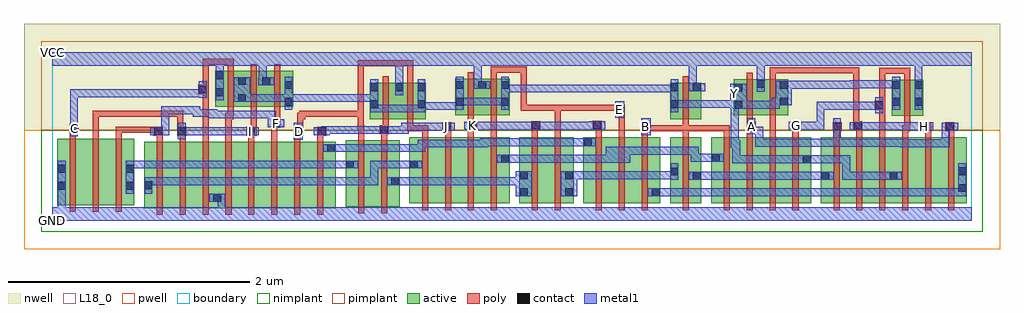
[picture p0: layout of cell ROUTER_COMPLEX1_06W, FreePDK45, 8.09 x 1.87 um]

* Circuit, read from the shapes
.subckt ROUTER_COMPLEX1_06W A B C D E F G GND H I J K VCC Y
M1 n1 C GND VSUBS nfet w=0.55u l=0.05u
M2 n2 I n1 VSUBS nfet w=0.55u l=0.05u
M3 n3 F n2 VSUBS nfet w=0.55u l=0.05u
M4 n4 F n5 VSUBS nfet w=0.55u l=0.05u
M5 n6 I n4 VSUBS nfet w=0.55u l=0.05u
M6 GND C n6 VSUBS nfet w=0.55u l=0.05u
M7 n7 C GND VSUBS nfet w=0.55u l=0.05u
M8 n8 I n7 VSUBS nfet w=0.55u l=0.05u
M9 n9 F n8 VSUBS nfet w=0.55u l=0.05u
M10 n10 D n9 VSUBS nfet w=0.55u l=0.05u
M11 n11 J n10 VSUBS nfet w=0.55u l=0.05u
M12 n12 D n3 VSUBS nfet w=0.55u l=0.05u
M13 n13 J n12 VSUBS nfet w=0.55u l=0.05u
M14 n14 D n5 VSUBS nfet w=0.55u l=0.05u
M15 n15 J n14 VSUBS nfet w=0.55u l=0.05u
M16 n16 K n15 VSUBS nfet w=0.55u l=0.05u
M17 n17 E n16 VSUBS nfet w=0.55u l=0.05u
M18 n18 K n13 VSUBS nfet w=0.55u l=0.05u
M19 n19 E n18 VSUBS nfet w=0.55u l=0.05u
M20 n20 K n11 VSUBS nfet w=0.55u l=0.05u
M21 n21 E n20 VSUBS nfet w=0.55u l=0.05u
M22 n22 B n21 VSUBS nfet w=0.55u l=0.05u
M23 n23 B n19 VSUBS nfet w=0.55u l=0.05u
M24 n24 B n17 VSUBS nfet w=0.55u l=0.05u
M25 n25 A n24 VSUBS nfet w=0.55u l=0.05u
M26 n26 H n25 VSUBS nfet w=0.55u l=0.05u
M27 Y G n26 VSUBS nfet w=0.55u l=0.05u
M28 n27 A n23 VSUBS nfet w=0.55u l=0.05u
M29 n28 H n27 VSUBS nfet w=0.55u l=0.05u
M30 Y G n28 VSUBS nfet w=0.55u l=0.05u
M31 n29 G Y VSUBS nfet w=0.55u l=0.05u
M32 n30 H n29 VSUBS nfet w=0.55u l=0.05u
M33 n22 A n30 VSUBS nfet w=0.55u l=0.05u
M34 Y C VCC n31 pfet w=0.3u l=0.05u
M35 VCC I Y n31 pfet w=0.3u l=0.05u
M36 Y F VCC n31 pfet w=0.3u l=0.05u
M37 VCC J Y n31 pfet w=0.3u l=0.05u
M38 Y D VCC n31 pfet w=0.3u l=0.05u
M39 VCC K Y n31 pfet w=0.3u l=0.05u
M40 Y E VCC n31 pfet w=0.3u l=0.05u
M41 VCC B Y n31 pfet w=0.3u l=0.05u
M42 VCC A Y n31 pfet w=0.3u l=0.05u
M43 Y H VCC n31 pfet w=0.3u l=0.05u
M44 VCC G Y n31 pfet w=0.3u l=0.05u
.ends

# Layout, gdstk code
import gdstk
lib = gdstk.Library(unit=1e-6, precision=1e-09)
def R(c, l, rs):  # rectangles x0, y0, x1, y1
    for r in rs: c.add(gdstk.rectangle(r[:2], r[2:], *l))
def A(c, l, x, y, w, h, nx, ny, dx, dy):  # array of equal rectangles
    R(c, l, [(x+i*dx, y+j*dy, x+i*dx+w, y+j*dy+h) for i in range(nx) for j in range(ny)])
active = (1, 0)
pwell = (2, 0)
nwell = (3, 0)
nimplant = (4, 0)
pimplant = (5, 0)
poly = (9, 0)
contact = (10, 0)
metal1 = (11, 0)
L18_0 = (18, 0)
boundary = (235, 0)

router_complex1_06w = lib.new_cell('ROUTER_COMPLEX1_06W')
A(router_complex1_06w, active, 1.555, 0.107, 0.19, 0.55, 3, 1, 0.19, 0)
R(router_complex1_06w, active, [(0.76,0.107,0.985,0.657), (0.985,0.107,1.175,0.657), (1.175,0.107,1.405,0.657), (1.33,0.107,1.555,0.657), (1.33,0.107,1.405,0.55), (2.125,0.107,2.35,0.657), (2.43,0.117,2.655,0.667), (2.655,0.117,2.88,0.667), (0.04,0.132,0.115,0.682), (0.04,0.132,0.265,0.682), (0.265,0.132,0.455,0.682), (0.455,0.132,0.68,0.682), (0.605,0.145,0.68,0.682), (0.76,0.145,0.865,0.657), (2.275,0.145,2.35,0.657), (2.43,0.145,2.535,0.667), (2.805,0.145,2.88,0.642), (2.96,0.145,3.185,0.695), (2.96,0.145,3.065,0.695), (3.185,0.145,3.375,0.695), (3.375,0.145,3.565,0.695), (3.565,0.145,3.79,0.695), (3.715,0.145,3.79,0.695), (3.87,0.145,4.095,0.695), (3.87,0.145,3.975,0.642), (4.095,0.145,4.32,0.695), (4.245,0.145,4.32,0.435), (4.4,0.145,4.625,0.695), (4.4,0.145,4.505,0.695), (4.625,0.145,4.815,0.695), (4.815,0.145,5.04,0.695), (4.965,0.145,5.04,0.642), (5.12,0.145,5.195,0.695), (5.12,0.145,5.38,0.695), (5.305,0.145,5.38,0.695), (5.46,0.145,5.685,0.695), (5.46,0.145,5.565,0.695), (5.685,0.145,5.875,0.695), (5.875,0.145,6.065,0.695), (6.065,0.145,6.29,0.695), (6.215,0.145,6.29,0.695), (6.37,0.145,6.595,0.695), (6.37,0.145,6.475,0.642), (6.595,0.145,6.785,0.695), (6.785,0.145,7.01,0.695), (6.935,0.145,7.165,0.695), (6.935,0.145,7.01,0.642), (7.165,0.145,7.355,0.695), (7.355,0.145,7.58,0.695), (7.505,0.145,7.58,0.695), (2.632,0.845,2.707,1.145), (2.632,0.845,2.912,1.145), (2.837,0.845,3.097,1.145), (3.022,0.845,3.097,1.145), (5.12,0.845,5.38,1.145), (5.12,0.845,5.195,1.145), (5.305,0.845,5.38,1.145), (6.957,0.87,7.032,1.165), (6.957,0.87,7.217,1.17), (7.142,0.87,7.217,1.165), (5.65,0.875,5.91,1.175), (5.65,0.875,5.725,1.142), (5.835,0.875,6.1,1.175), (6.025,0.875,6.1,1.167), (3.34,0.877,3.6,1.177), (3.34,0.877,3.415,1.165), (3.525,0.877,3.79,1.177), (3.715,0.877,3.79,1.165), (1.35,0.945,1.61,1.245), (1.35,0.945,1.425,1.245), (1.535,0.945,1.81,1.245), (1.735,0.945,1.995,1.245), (1.92,0.945,1.995,1.165), (1.535,0.952,1.61,1.197), (2.837,0.952,2.912,1.145), (3.525,0.952,3.6,1.165), (5.835,0.952,5.91,1.175), (1.735,1.007,1.81,1.195)])
R(router_complex1_06w, pwell, [(-0.235,-0.235,7.855,0.75)])
R(router_complex1_06w, nwell, [(-0.235,0.75,7.855,1.635)])
R(router_complex1_06w, nimplant, [(-0.09,-0.09,7.71,0.75)])
R(router_complex1_06w, pimplant, [(-0.09,0.75,7.71,1.49)])
A(router_complex1_06w, poly, 0.865, 0.052, 0.05, 0.66, 8, 1, 0.19, 0)
A(router_complex1_06w, poly, 0.145, 0.077, 0.05, 0.66, 3, 1, 0.19, 0)
A(router_complex1_06w, poly, 3.065, 0.09, 0.05, 0.66, 4, 1, 0.19, 0)
A(router_complex1_06w, poly, 4.505, 0.09, 0.05, 0.66, 3, 1, 0.19, 0)
A(router_complex1_06w, poly, 5.565, 0.09, 0.05, 0.66, 4, 1, 0.19, 0)
A(router_complex1_06w, poly, 6.475, 0.09, 0.05, 0.66, 6, 1, 0.19, 0)
A(router_complex1_06w, poly, 4.885, 0.7, 0.05, 0.095, 3, 1, 0.34, 0)
A(router_complex1_06w, poly, 7.045, 0.7, 0.05, 0.095, 3, 1, 0.19, 0)
R(router_complex1_06w, poly, [(2.535,0.062,2.585,0.722), (2.725,0.062,2.775,0.722), (3.975,0.09,4.025,0.75), (4.165,0.09,4.215,0.75), (5.225,0.09,5.275,0.75), (0.865,0.662,0.915,0.757), (1.055,0.662,1.105,0.757), (1.245,0.662,1.295,0.895), (1.435,0.662,1.485,0.895), (1.625,0.662,1.675,0.757), (1.815,0.662,1.865,0.822), (2.005,0.662,2.055,0.757), (2.195,0.662,2.245,0.757), (2.535,0.672,2.585,0.795), (2.725,0.672,2.775,0.767), (0.145,0.687,0.195,0.782), (0.335,0.687,0.385,0.915), (0.525,0.687,0.575,0.782), (3.065,0.7,3.115,0.795), (3.255,0.7,3.305,0.795), (3.445,0.7,3.495,0.802), (3.635,0.7,3.685,0.827), (3.975,0.7,4.025,0.802), (4.165,0.7,4.215,0.962), (4.505,0.7,4.555,0.805), (4.695,0.7,4.745,0.937), (5.755,0.7,5.805,0.797), (5.945,0.7,5.995,0.795), (6.135,0.7,6.185,0.8), (6.475,0.7,6.525,0.795), (6.665,0.7,6.715,0.8), (6.855,0.7,6.905,0.972), (0.84,0.707,0.915,0.782), (1.035,0.707,1.11,0.782), (1.607,0.707,1.695,0.782), (2.005,0.707,2.08,0.782), (2.195,0.707,2.27,0.782), (2.712,0.717,2.787,0.792), (0.142,0.732,0.217,0.807), (0.525,0.732,0.575,0.782), (0.525,0.732,0.575,0.782), (0.525,0.732,0.575,0.782), (0.525,0.732,0.89,0.782), (0.84,0.732,0.89,0.782), (0.84,0.732,0.89,0.782), (1.035,0.732,1.085,0.782), (1.035,0.732,1.085,0.782), (1.035,0.732,1.085,0.915), (1.645,0.732,1.695,0.94), (2.03,0.732,2.08,0.895), (2.737,0.742,2.787,0.84), (2.532,0.745,2.582,0.795), (2.532,0.745,2.582,0.795), (2.532,0.745,2.582,0.915), (2.532,0.745,2.585,0.795), (2.942,0.745,2.992,0.84), (2.942,0.745,3.115,0.795), (3.23,0.745,3.305,0.82), (4.885,0.745,4.96,0.82), (4.91,0.745,4.96,0.795), (4.91,0.745,4.96,0.795), (4.91,0.745,5.092,0.795), (5.042,0.745,5.092,0.795), (5.042,0.745,5.275,0.795), (5.225,0.745,5.275,0.84), (5.225,0.745,5.275,0.795), (5.225,0.745,5.275,0.795), (5.225,0.745,5.275,0.795), (5.225,0.745,5.615,0.795), (5.565,0.745,5.615,0.795), (5.565,0.745,5.615,0.795), (5.565,0.745,5.615,0.795), (5.945,0.745,5.995,0.795), (5.945,0.745,5.995,0.87), (6.467,0.745,6.542,0.82), (7.045,0.745,7.112,0.795), (7.062,0.745,7.112,0.865), (7.195,0.745,7.285,0.82), (7.402,0.745,7.477,0.82), (5.755,0.747,5.832,0.822), (6.132,0.75,6.207,0.825), (6.64,0.75,6.715,0.825), (3.445,0.752,3.52,0.827), (3.97,0.752,4.045,0.827), (4.48,0.755,4.555,0.83), (1.815,0.772,1.89,0.847), (5.755,0.772,5.805,0.87), (6.64,0.775,6.69,0.825), (6.64,0.775,6.69,0.825), (6.64,0.775,6.69,1.275), (3.445,0.777,3.495,0.872), (3.635,0.777,3.685,0.872), (3.635,0.777,3.685,0.827), (2.737,0.79,2.787,1.2), (2.942,0.79,2.992,1.2), (5.225,0.79,5.275,1.2), (1.84,0.797,1.89,0.94), (7.062,0.815,7.112,1.225), (5.755,0.82,5.805,1.23), (5.945,0.82,5.995,1.23), (3.445,0.822,3.495,1.232), (3.635,0.822,3.685,1.277), (1.245,0.845,1.295,0.895), (1.245,0.845,1.295,1.102), (1.435,0.845,1.505,0.895), (1.455,0.845,1.505,0.94), (2.03,0.845,2.095,0.895), (2.045,0.845,2.095,0.895), (2.045,0.845,2.095,0.915), (0.335,0.865,0.385,0.915), (0.335,0.865,0.385,0.915), (0.335,0.865,0.385,0.915), (0.335,0.865,0.385,0.915), (0.335,0.865,0.385,0.915), (0.335,0.865,0.385,0.915), (0.335,0.865,0.385,0.915), (0.335,0.865,0.757,0.915), (0.707,0.865,0.757,0.915), (0.707,0.865,0.757,0.915), (0.707,0.865,0.757,0.915), (0.707,0.865,0.952,0.915), (0.902,0.865,0.952,0.915), (0.902,0.865,0.952,0.915), (0.902,0.865,0.952,0.915), (0.902,0.865,1.085,0.915), (1.035,0.865,1.085,0.915), (1.035,0.865,1.085,0.915), (1.035,0.865,1.085,0.915), (2.045,0.865,2.095,0.915), (2.045,0.865,2.095,0.915), (2.045,0.865,2.227,0.915), (2.177,0.865,2.227,0.915), (2.177,0.865,2.227,0.915), (2.177,0.865,2.227,0.915), (2.177,0.865,2.582,0.915), (2.532,0.865,2.582,0.915), (2.532,0.865,2.582,0.915), (2.532,0.865,2.582,0.915), (2.532,0.865,2.582,1.332), (4.67,0.887,4.745,0.962), (1.455,0.89,1.505,1.3), (1.645,0.89,1.695,1.3), (1.84,0.89,1.89,1.3), (3.882,0.912,3.932,0.962), (3.882,0.912,3.932,0.962), (3.882,0.912,3.932,0.962), (3.882,0.912,4.215,0.962), (3.882,0.912,3.932,1.277), (4.165,0.912,4.215,0.962), (4.165,0.912,4.215,0.962), (4.165,0.912,4.215,0.962), (4.165,0.912,4.215,0.962), (4.165,0.912,4.215,0.962), (4.165,0.912,4.215,0.962), (4.165,0.912,4.215,0.962), (4.165,0.912,4.347,0.962), (4.297,0.912,4.347,0.962), (4.297,0.912,4.347,0.962), (4.297,0.912,4.347,0.962), (4.297,0.912,4.48,0.962), (4.43,0.912,4.48,0.962), (4.43,0.912,4.72,0.962), (4.67,0.912,4.72,0.962), (4.67,0.912,4.72,0.962), (4.67,0.912,4.72,0.962), (4.67,0.912,4.72,0.962), (4.67,0.912,4.72,0.962), (4.67,0.912,4.72,0.962), (6.817,0.922,6.905,0.997), (6.855,0.922,6.905,0.972), (6.855,0.922,6.905,0.972), (6.855,0.922,6.905,0.972), (6.855,0.922,6.905,0.972), (6.855,0.947,6.905,1.27), (1.21,1.052,1.295,1.127), (1.245,1.052,1.295,1.102), (1.245,1.052,1.295,1.102), (1.245,1.077,1.295,1.127), (1.245,1.077,1.295,1.127), (1.245,1.077,1.295,1.345), (2.942,1.15,2.992,1.332), (7.062,1.175,7.112,1.27), (5.945,1.18,5.995,1.275), (6.855,1.22,7.112,1.27), (6.855,1.22,6.905,1.27), (6.855,1.22,6.905,1.27), (6.855,1.22,6.905,1.27), (6.855,1.22,6.905,1.27), (6.855,1.22,6.905,1.27), (7.062,1.22,7.112,1.27), (5.945,1.225,5.995,1.275), (5.945,1.225,5.995,1.275), (5.945,1.225,5.995,1.275), (5.945,1.225,6.2,1.275), (6.15,1.225,6.2,1.275), (6.15,1.225,6.2,1.275), (6.15,1.225,6.2,1.275), (6.15,1.225,6.2,1.275), (6.15,1.225,6.2,1.275), (6.15,1.225,6.2,1.275), (6.15,1.225,6.2,1.275), (6.15,1.225,6.557,1.275), (6.507,1.225,6.557,1.275), (6.507,1.225,6.557,1.275), (6.507,1.225,6.557,1.275), (6.507,1.225,6.69,1.275), (6.64,1.225,6.69,1.275), (6.64,1.225,6.69,1.275), (6.64,1.225,6.69,1.275), (3.635,1.227,3.685,1.277), (3.635,1.227,3.685,1.277), (3.635,1.227,3.685,1.277), (3.635,1.227,3.685,1.277), (3.635,1.227,3.685,1.277), (3.635,1.227,3.685,1.277), (3.635,1.227,3.685,1.277), (3.635,1.227,3.932,1.277), (3.882,1.227,3.932,1.277), (1.455,1.25,1.505,1.345), (2.532,1.282,2.582,1.332), (2.532,1.282,2.582,1.332), (2.532,1.282,2.582,1.332), (2.532,1.282,2.715,1.332), (2.665,1.282,2.715,1.332), (2.665,1.282,2.715,1.332), (2.665,1.282,2.715,1.332), (2.665,1.282,2.847,1.332), (2.797,1.282,2.847,1.332), (2.797,1.282,2.992,1.332), (2.942,1.282,2.992,1.332), (2.942,1.282,2.992,1.332), (2.942,1.282,2.992,1.332), (1.245,1.295,1.295,1.345), (1.245,1.295,1.295,1.345), (1.245,1.295,1.295,1.345), (1.245,1.295,1.505,1.345), (1.455,1.295,1.505,1.345)])
R(router_complex1_06w, contact, [(1.335,0.16,1.4,0.225), (3.875,0.205,3.94,0.27), (4.25,0.205,4.315,0.27), (4.97,0.205,5.035,0.27), (7.51,0.24,7.575,0.305), (0.045,0.26,0.11,0.325), (0.61,0.26,0.675,0.325), (0.765,0.262,0.83,0.327), (2.81,0.297,2.875,0.362), (5.31,0.342,5.375,0.407), (6.375,0.342,6.44,0.407), (6.94,0.342,7.005,0.407), (3.875,0.345,3.94,0.41), (4.25,0.345,4.315,0.41), (5.125,0.377,5.19,0.442), (7.51,0.38,7.575,0.445), (0.045,0.4,0.11,0.465), (0.61,0.4,0.675,0.465), (2.435,0.435,2.5,0.5), (2.965,0.435,3.03,0.5), (6.22,0.48,6.285,0.545), (3.72,0.482,3.785,0.547), (5.465,0.492,5.53,0.557), (2.28,0.572,2.345,0.637), (4.405,0.62,4.47,0.685), (0.845,0.712,0.91,0.777), (1.04,0.712,1.105,0.777), (1.612,0.712,1.677,0.777), (2.01,0.712,2.075,0.777), (2.2,0.712,2.265,0.777), (2.717,0.722,2.782,0.787), (0.147,0.737,0.212,0.802), (3.235,0.75,3.3,0.815), (4.89,0.75,4.955,0.815), (6.472,0.75,6.537,0.815), (7.2,0.75,7.265,0.815), (7.407,0.75,7.472,0.815), (5.762,0.752,5.827,0.817), (6.137,0.755,6.202,0.82), (6.645,0.755,6.71,0.82), (3.45,0.757,3.515,0.822), (3.975,0.757,4.04,0.822), (4.485,0.76,4.55,0.825), (1.82,0.777,1.885,0.842), (4.675,0.892,4.74,0.957), (6.822,0.927,6.887,0.992), (5.655,0.932,5.72,0.997), (2.637,0.935,2.702,1), (3.027,0.935,3.092,1), (5.125,0.935,5.19,1), (1.925,0.955,1.99,1.02), (3.345,0.955,3.41,1.02), (3.72,0.955,3.785,1.02), (6.962,0.955,7.027,1.02), (7.147,0.955,7.212,1.02), (6.03,0.957,6.095,1.022), (1.54,0.987,1.605,1.052), (1.355,1.035,1.42,1.1), (1.215,1.057,1.28,1.122), (5.655,1.072,5.72,1.137), (2.637,1.075,2.702,1.14), (2.842,1.075,2.907,1.14), (3.027,1.075,3.092,1.14), (5.125,1.075,5.19,1.14), (5.31,1.075,5.375,1.14), (1.925,1.095,1.99,1.16), (3.345,1.095,3.41,1.16), (3.53,1.095,3.595,1.16), (3.72,1.095,3.785,1.16), (6.962,1.095,7.027,1.16), (7.147,1.095,7.212,1.16), (6.03,1.097,6.095,1.162), (5.84,1.105,5.905,1.17), (1.74,1.125,1.805,1.19), (1.54,1.127,1.605,1.192), (1.355,1.175,1.42,1.24)])
R(router_complex1_06w, metal1, [(0,0,7.62,0.115), (0.045,0.05,0.11,0.29), (1.37,0.05,1.435,0.225), (1.3,0.16,1.435,0.225), (3.84,0.205,3.975,0.41), (4.215,0.205,4.35,0.41), (4.935,0.205,5.07,0.27), (5.005,0.205,5.07,0.27), (5.005,0.205,5.07,0.27), (5.005,0.205,5.327,0.27), (5.262,0.205,5.327,0.27), (5.262,0.205,5.547,0.27), (5.482,0.205,5.547,0.27), (5.482,0.205,5.547,0.27), (5.482,0.205,5.547,0.27), (5.482,0.205,5.685,0.27), (5.62,0.205,5.685,0.27), (5.62,0.205,5.685,0.27), (5.62,0.205,5.685,0.27), (5.62,0.205,5.892,0.27), (5.827,0.205,5.892,0.27), (5.827,0.205,5.892,0.27), (5.827,0.205,5.892,0.27), (5.827,0.205,6.03,0.27), (5.965,0.205,6.03,0.27), (5.965,0.205,6.03,0.27), (5.965,0.205,6.03,0.27), (5.965,0.205,6.262,0.27), (6.197,0.205,6.262,0.27), (6.197,0.205,6.4,0.27), (6.335,0.205,6.4,0.27), (6.335,0.205,6.4,0.27), (6.335,0.205,6.4,0.27), (6.335,0.205,6.537,0.27), (6.472,0.205,6.537,0.27), (6.472,0.205,6.537,0.27), (6.472,0.205,6.537,0.27), (6.472,0.205,6.75,0.27), (6.685,0.205,6.75,0.27), (6.685,0.205,6.75,0.27), (6.685,0.205,6.75,0.27), (6.685,0.205,6.887,0.27), (6.822,0.205,6.887,0.27), (6.822,0.205,6.887,0.27), (6.822,0.205,6.887,0.27), (6.822,0.205,7.09,0.27), (7.025,0.205,7.09,0.27), (7.025,0.205,7.09,0.27), (7.025,0.205,7.09,0.27), (7.025,0.205,7.3,0.27), (7.235,0.205,7.3,0.27), (7.235,0.205,7.3,0.27), (7.235,0.205,7.3,0.27), (7.235,0.205,7.575,0.27), (7.51,0.205,7.575,0.27), (7.51,0.205,7.575,0.27), (7.51,0.205,7.575,0.48), (0.045,0.225,0.11,0.5), (0.61,0.225,0.675,0.5), (0.765,0.227,0.83,0.362), (0.765,0.297,0.967,0.362), (0.902,0.297,0.967,0.362), (0.902,0.297,0.967,0.362), (0.902,0.297,0.967,0.362), (0.902,0.297,1.105,0.362), (1.04,0.297,1.105,0.362), (1.04,0.297,1.105,0.362), (1.04,0.297,1.105,0.362), (1.04,0.297,1.365,0.362), (1.3,0.297,1.365,0.362), (1.3,0.297,1.365,0.362), (1.3,0.297,1.365,0.362), (1.3,0.297,1.502,0.362), (1.437,0.297,1.502,0.362), (1.437,0.297,1.502,0.362), (1.437,0.297,1.502,0.362), (1.437,0.297,1.64,0.362), (1.575,0.297,1.64,0.362), (1.575,0.297,1.85,0.362), (1.785,0.297,1.85,0.362), (1.785,0.297,1.85,0.362), (1.785,0.297,1.85,0.362), (1.785,0.297,1.987,0.362), (1.922,0.297,1.987,0.362), (1.922,0.297,1.987,0.362), (1.922,0.297,1.987,0.362), (1.922,0.297,2.162,0.362), (2.097,0.297,2.162,0.362), (2.097,0.297,2.162,0.362), (2.097,0.297,2.162,0.362), (2.097,0.297,2.465,0.362), (2.4,0.297,2.465,0.362), (2.4,0.297,2.465,0.362), (2.4,0.297,2.465,0.362), (2.4,0.297,2.602,0.362), (2.537,0.297,2.602,0.362), (2.537,0.297,2.702,0.362), (2.637,0.297,2.702,0.5), (2.775,0.297,2.91,0.362), (2.845,0.297,2.955,0.362), (2.89,0.297,2.955,0.362), (2.89,0.297,3.092,0.362), (3.027,0.297,3.092,0.362), (3.027,0.297,3.092,0.362), (3.027,0.297,3.092,0.362), (3.027,0.297,3.23,0.362), (3.165,0.297,3.23,0.362), (3.165,0.297,3.41,0.362), (3.345,0.297,3.41,0.362), (3.345,0.297,3.41,0.362), (3.345,0.297,3.41,0.362), (3.345,0.297,3.547,0.362), (3.482,0.297,3.547,0.362), (3.482,0.297,3.75,0.362), (3.685,0.297,3.75,0.362), (3.685,0.297,3.75,0.362), (3.685,0.297,3.75,0.362), (3.685,0.297,3.905,0.362), (5.125,0.342,5.19,0.477), (5.275,0.342,5.41,0.407), (5.345,0.342,5.547,0.407), (5.482,0.342,5.547,0.407), (5.482,0.342,5.69,0.407), (5.625,0.342,5.69,0.407), (5.625,0.342,5.69,0.407), (5.625,0.342,5.69,0.407), (5.625,0.342,5.84,0.407), (5.775,0.342,5.84,0.407), (5.775,0.342,5.84,0.407), (5.775,0.342,5.84,0.407), (5.775,0.342,6.03,0.407), (5.965,0.342,6.03,0.407), (5.965,0.342,6.03,0.407), (5.965,0.342,6.03,0.407), (5.965,0.342,6.25,0.407), (6.185,0.342,6.25,0.407), (6.185,0.342,6.25,0.407), (6.185,0.342,6.25,0.407), (6.185,0.342,6.405,0.407), (6.34,0.342,6.475,0.407), (6.547,0.342,6.612,0.407), (6.547,0.342,6.612,0.545), (6.547,0.342,6.675,0.407), (6.61,0.342,6.675,0.407), (6.61,0.342,6.75,0.407), (6.685,0.342,6.75,0.407), (6.685,0.342,6.887,0.407), (6.822,0.342,6.887,0.407), (6.822,0.342,6.97,0.407), (6.905,0.342,7.04,0.407), (4.285,0.345,4.487,0.41), (4.422,0.345,4.487,0.41), (4.422,0.345,4.487,0.41), (4.422,0.345,4.487,0.41), (4.422,0.345,4.652,0.41), (4.587,0.345,4.652,0.41), (4.587,0.345,4.79,0.41), (4.725,0.345,4.79,0.41), (4.725,0.345,4.79,0.41), (4.725,0.345,4.79,0.41), (4.725,0.345,4.932,0.41), (4.867,0.345,4.932,0.41), (4.867,0.345,4.932,0.41), (4.867,0.345,4.932,0.41), (4.867,0.345,5.19,0.41), (0.61,0.435,0.675,0.5), (0.61,0.435,0.675,0.5), (0.61,0.435,0.967,0.5), (0.902,0.435,0.967,0.5), (0.902,0.435,0.967,0.5), (0.902,0.435,0.967,0.5), (0.902,0.435,1.105,0.5), (1.04,0.435,1.105,0.5), (1.04,0.435,1.105,0.5), (1.04,0.435,1.105,0.5), (1.04,0.435,1.365,0.5), (1.3,0.435,1.365,0.5), (1.3,0.435,1.365,0.5), (1.3,0.435,1.365,0.5), (1.3,0.435,1.502,0.5), (1.437,0.435,1.502,0.5), (1.437,0.435,1.502,0.5), (1.437,0.435,1.502,0.5), (1.437,0.435,1.64,0.5), (1.575,0.435,1.64,0.5), (1.575,0.435,1.85,0.5), (1.785,0.435,1.85,0.5), (1.785,0.435,1.85,0.5), (1.785,0.435,1.85,0.5), (1.785,0.435,1.987,0.5), (1.922,0.435,1.987,0.5), (1.922,0.435,1.987,0.5), (1.922,0.435,1.987,0.5), (1.922,0.435,2.127,0.5), (2.062,0.435,2.127,0.5), (2.062,0.435,2.127,0.5), (2.062,0.435,2.127,0.5), (2.062,0.435,2.465,0.5), (2.4,0.435,2.465,0.5), (2.4,0.435,2.465,0.5), (2.4,0.435,2.535,0.5), (2.637,0.435,2.747,0.5), (2.682,0.435,2.747,0.5), (2.682,0.435,2.84,0.5), (2.775,0.435,2.84,0.5), (2.775,0.435,2.995,0.5), (2.93,0.435,3.065,0.5), (5.637,0.48,5.702,0.545), (5.637,0.48,5.892,0.545), (5.637,0.48,5.702,0.67), (5.827,0.48,5.892,0.545), (5.827,0.48,5.892,0.545), (5.827,0.48,5.892,0.545), (5.827,0.48,6.03,0.545), (5.965,0.48,6.03,0.545), (5.965,0.48,6.03,0.545), (5.965,0.48,6.03,0.545), (5.965,0.48,6.25,0.545), (6.185,0.48,6.25,0.545), (6.185,0.48,6.25,0.545), (6.185,0.48,6.32,0.545), (6.255,0.48,6.4,0.545), (6.335,0.48,6.4,0.545), (6.335,0.48,6.537,0.545), (6.472,0.48,6.537,0.545), (6.472,0.48,6.612,0.545), (6.547,0.48,6.612,0.545), (3.685,0.482,3.82,0.547), (3.755,0.482,4.005,0.547), (3.94,0.482,4.005,0.547), (3.94,0.482,4.142,0.547), (4.077,0.482,4.142,0.547), (4.077,0.482,4.142,0.547), (4.077,0.482,4.142,0.547), (4.077,0.482,4.297,0.547), (4.232,0.482,4.297,0.547), (4.232,0.482,4.297,0.547), (4.232,0.482,4.297,0.547), (4.232,0.482,4.515,0.547), (4.45,0.482,4.515,0.547), (4.45,0.482,4.515,0.547), (4.45,0.482,4.515,0.547), (4.45,0.482,4.652,0.547), (4.587,0.482,4.652,0.547), (4.587,0.482,4.652,0.547), (4.587,0.482,4.79,0.615), (5.292,0.492,5.495,0.557), (5.292,0.492,5.357,0.615), (5.43,0.492,5.495,0.557), (5.43,0.492,5.495,0.557), (5.43,0.492,5.565,0.557), (4.725,0.55,4.79,0.615), (4.725,0.55,4.79,0.615), (4.725,0.55,4.927,0.615), (4.862,0.55,4.927,0.615), (4.862,0.55,4.927,0.615), (4.862,0.55,4.927,0.615), (4.862,0.55,5.07,0.615), (5.005,0.55,5.07,0.615), (5.005,0.55,5.357,0.615), (2.245,0.572,2.38,0.637), (2.315,0.572,2.465,0.637), (2.4,0.572,2.465,0.637), (2.4,0.572,2.602,0.637), (2.537,0.572,2.602,0.637), (2.537,0.572,2.602,0.637), (2.537,0.572,2.602,0.637), (2.537,0.572,2.817,0.637), (2.752,0.572,2.817,0.637), (2.752,0.572,2.955,0.637), (2.89,0.572,2.955,0.637), (2.89,0.572,2.955,0.637), (2.89,0.572,2.955,0.637), (2.89,0.572,3.092,0.637), (3.027,0.572,3.092,0.637), (3.027,0.572,3.092,0.637), (3.027,0.572,3.092,0.675), (5.625,0.605,5.69,0.997), (5.625,0.605,5.702,0.67), (3.027,0.61,3.272,0.675), (3.207,0.61,3.272,0.675), (3.207,0.61,3.272,0.675), (3.207,0.61,3.272,0.675), (3.207,0.61,3.612,0.675), (3.547,0.61,3.612,0.675), (3.547,0.61,3.612,0.675), (3.547,0.61,3.612,0.685), (7.025,0.612,7.09,0.677), (7.025,0.612,7.09,0.677), (7.025,0.612,7.3,0.677), (7.025,0.612,7.09,0.68), (7.235,0.612,7.3,0.677), (7.235,0.612,7.437,0.677), (7.372,0.612,7.437,0.677), (7.372,0.612,7.437,0.815), (6.887,0.615,7.09,0.68), (6.887,0.615,6.952,0.682), (5.827,0.617,5.892,0.682), (5.827,0.617,6.03,0.682), (5.827,0.617,5.892,0.782), (5.965,0.617,6.03,0.682), (5.965,0.617,6.03,0.682), (5.965,0.617,6.03,0.682), (5.965,0.617,6.262,0.682), (6.197,0.617,6.262,0.682), (6.197,0.617,6.4,0.682), (6.335,0.617,6.4,0.682), (6.335,0.617,6.4,0.682), (6.335,0.617,6.4,0.682), (6.335,0.617,6.537,0.682), (6.472,0.617,6.537,0.682), (6.472,0.617,6.537,0.682), (6.472,0.617,6.537,0.682), (6.472,0.617,6.75,0.682), (6.472,0.617,6.537,0.78), (6.685,0.617,6.75,0.682), (6.685,0.617,6.75,0.682), (6.685,0.617,6.75,0.682), (6.685,0.617,6.952,0.682), (6.887,0.617,6.952,0.682), (6.887,0.617,6.952,0.682), (3.547,0.62,3.75,0.685), (3.685,0.62,3.75,0.685), (3.685,0.62,3.75,0.685), (3.685,0.62,3.75,0.685), (3.685,0.62,3.905,0.685), (3.84,0.62,3.905,0.685), (3.84,0.62,4.142,0.685), (4.077,0.62,4.142,0.685), (4.077,0.62,4.142,0.685), (4.077,0.62,4.142,0.685), (4.077,0.62,4.297,0.685), (4.232,0.62,4.297,0.685), (4.232,0.62,4.297,0.685), (4.232,0.62,4.297,0.685), (4.232,0.62,4.435,0.685), (4.37,0.62,4.505,0.685), (2,0.675,2.077,0.812), (1.04,0.677,1.105,0.812), (0.147,0.702,0.212,0.837), (0.81,0.712,0.945,0.777), (0.88,0.712,0.967,0.777), (0.902,0.712,0.967,0.777), (0.902,0.712,0.967,0.95), (1.04,0.712,1.105,0.777), (1.04,0.712,1.105,0.777), (1.04,0.712,1.365,0.777), (1.3,0.712,1.365,0.777), (1.3,0.712,1.365,0.777), (1.3,0.712,1.365,0.777), (1.3,0.712,1.502,0.777), (1.437,0.712,1.502,0.777), (1.437,0.712,1.502,0.777), (1.437,0.712,1.502,0.777), (1.437,0.712,1.642,0.777), (1.577,0.712,1.712,0.777), (2.165,0.712,2.3,0.777), (2.235,0.712,2.3,0.777), (2.235,0.712,2.3,0.787), (4.882,0.712,4.96,0.85), (6.472,0.715,6.537,0.85), (5.762,0.717,5.827,0.852), (5.762,0.717,5.892,0.782), (5.827,0.717,5.892,0.782), (2.235,0.722,2.465,0.787), (2.4,0.722,2.465,0.787), (2.4,0.722,2.61,0.787), (2.545,0.722,2.61,0.787), (2.545,0.722,2.61,0.787), (2.545,0.722,2.61,0.787), (2.545,0.722,2.747,0.787), (2.682,0.722,2.817,0.787), (2.752,0.722,2.955,0.787), (2.89,0.722,2.955,0.812), (2.89,0.747,2.955,0.812), (2.89,0.747,2.955,0.812), (2.89,0.747,3.092,0.812), (3.027,0.747,3.092,0.812), (3.027,0.747,3.092,0.812), (3.027,0.747,3.092,0.812), (3.027,0.747,3.262,0.812), (3.197,0.747,3.335,0.815), (7.162,0.75,7.3,0.817), (7.372,0.75,7.437,0.815), (7.372,0.75,7.437,0.815), (7.372,0.75,7.507,0.815), (7.025,0.752,7.227,0.817), (7.025,0.752,7.09,0.82), (6.102,0.755,6.237,0.822), (6.61,0.755,6.745,0.82), (6.68,0.755,6.75,0.82), (6.685,0.755,6.75,0.82), (6.685,0.755,6.887,0.82), (6.822,0.755,6.887,0.82), (6.822,0.755,6.887,0.82), (6.822,0.755,6.887,0.82), (6.822,0.755,7.09,0.82), (7.025,0.755,7.09,0.82), (7.025,0.755,7.09,0.82), (3.415,0.757,3.552,0.822), (3.487,0.757,3.552,0.822), (3.487,0.757,3.552,0.822), (3.487,0.757,3.75,0.822), (3.685,0.757,3.75,0.822), (3.685,0.757,3.867,0.822), (3.802,0.757,3.867,0.822), (3.802,0.757,4.005,0.822), (3.94,0.757,4.005,0.822), (3.94,0.757,4.005,0.822), (3.94,0.757,4.075,0.822), (4.01,0.757,4.142,0.822), (4.077,0.757,4.142,0.822), (4.077,0.757,4.297,0.822), (4.232,0.757,4.297,0.822), (4.232,0.757,4.297,0.822), (4.232,0.757,4.297,0.822), (4.232,0.757,4.515,0.822), (4.45,0.757,4.515,0.822), (4.45,0.757,4.515,0.822), (4.45,0.757,4.585,0.825), (6.172,0.757,6.4,0.822), (6.335,0.757,6.4,0.822), (6.335,0.757,6.4,0.822), (6.335,0.757,6.4,0.822), (6.335,0.757,6.4,0.987), (0.147,0.772,0.212,0.837), (0.147,0.772,0.212,0.837), (0.147,0.772,0.212,1.09), (1.785,0.777,1.85,0.842), (1.785,0.777,1.85,0.842), (1.785,0.777,1.922,0.842), (1.785,0.777,1.85,0.915), (1.3,0.85,1.365,0.915), (1.3,0.85,1.365,0.915), (1.3,0.85,1.502,0.915), (1.3,0.85,1.365,0.927), (1.437,0.85,1.502,0.915), (1.437,0.85,1.502,0.915), (1.437,0.85,1.502,0.915), (1.437,0.85,1.712,0.915), (1.647,0.85,1.712,0.915), (1.647,0.85,1.85,0.915), (1.785,0.85,1.85,0.915), (4.665,0.855,4.742,0.992), (1.162,0.862,1.365,0.927), (1.162,0.862,1.227,0.95), (0.902,0.885,0.967,0.95), (0.902,0.885,1.105,0.95), (1.04,0.885,1.105,0.95), (1.04,0.885,1.227,0.95), (6.822,0.892,6.887,1.027), (2.637,0.9,2.702,1.175), (2.637,0.9,2.747,0.965), (2.682,0.9,2.747,0.965), (2.682,0.9,2.955,0.965), (2.89,0.9,2.955,0.965), (2.89,0.9,2.955,0.965), (2.89,0.9,2.955,0.965), (2.89,0.9,3.092,0.965), (3.027,0.9,3.092,0.965), (3.027,0.9,3.092,0.965), (3.027,0.9,3.092,1.175), (5.125,0.9,5.19,1.175), (1.925,0.92,1.99,1.195), (3.027,0.92,3.272,0.985), (3.207,0.92,3.272,0.985), (3.207,0.92,3.41,0.985), (3.345,0.92,3.41,1.195), (3.72,0.92,3.785,1.195), (6.962,0.92,7.027,1.195), (7.147,0.92,7.212,1.195), (6.335,0.922,6.4,0.987), (6.335,0.922,6.537,0.987), (6.472,0.922,6.537,0.987), (6.472,0.922,6.537,0.987), (6.472,0.922,6.537,0.987), (6.472,0.922,6.537,0.987), (6.472,0.922,6.537,0.987), (6.472,0.922,6.75,0.987), (6.685,0.922,6.75,0.987), (6.685,0.922,6.75,0.987), (6.685,0.922,6.75,0.987), (6.685,0.922,6.887,0.987), (5.62,0.932,5.755,1.137), (5.625,0.932,5.69,0.997), (5.625,0.932,5.69,0.997), (5.625,0.932,5.69,0.997), (5.625,0.932,5.69,0.997), (5.625,0.932,5.69,0.997), (5.625,0.932,5.69,0.997), (5.625,0.932,5.892,0.997), (5.827,0.932,5.892,0.997), (5.827,0.932,5.892,0.997), (5.827,0.932,5.892,0.997), (5.827,0.932,6.03,0.997), (5.965,0.932,6.03,1.022), (5.125,0.937,5.327,1.002), (5.262,0.937,5.327,1.002), (5.262,0.937,5.327,1.002), (5.262,0.937,5.327,1.002), (5.262,0.937,5.547,1.002), (5.482,0.937,5.547,1.002), (5.482,0.937,5.547,1.002), (5.482,0.937,5.547,1.002), (5.482,0.937,5.685,1.002), (5.62,0.937,5.685,1.002), (5.62,0.937,5.685,1.002), (3.345,0.957,3.547,1.022), (3.482,0.957,3.547,1.022), (3.482,0.957,3.547,1.022), (3.482,0.957,3.547,1.022), (3.482,0.957,3.75,1.022), (3.685,0.957,3.75,1.022), (3.685,0.957,3.785,1.022), (5.965,0.957,6.06,1.022), (5.995,0.957,6.13,1.162), (1.505,0.987,1.64,1.192), (1.575,0.987,1.64,1.052), (1.575,0.987,1.64,1.052), (1.575,0.987,1.85,1.052), (1.785,0.987,1.85,1.052), (1.785,0.987,1.85,1.052), (1.785,0.987,1.85,1.052), (1.785,0.987,1.99,1.052), (1.925,0.987,1.99,1.052), (1.925,0.987,1.99,1.052), (1.925,0.987,2.162,1.052), (2.097,0.987,2.162,1.052), (2.097,0.987,2.162,1.052), (2.097,0.987,2.162,1.052), (2.097,0.987,2.465,1.052), (2.4,0.987,2.465,1.052), (2.4,0.987,2.465,1.052), (2.4,0.987,2.465,1.052), (2.4,0.987,2.602,1.052), (2.537,0.987,2.602,1.052), (2.537,0.987,2.702,1.052), (1.355,1,1.42,1.275), (1.215,1.022,1.28,1.157), (0.147,1.025,0.212,1.09), (0.147,1.025,0.35,1.09), (0.285,1.025,0.35,1.09), (0.285,1.025,0.35,1.09), (0.285,1.025,0.35,1.09), (0.285,1.025,0.487,1.09), (0.422,1.025,0.487,1.09), (0.422,1.025,0.487,1.09), (0.422,1.025,0.487,1.09), (0.422,1.025,0.83,1.09), (0.765,1.025,0.83,1.09), (0.765,1.025,0.83,1.09), (0.765,1.025,0.83,1.09), (0.765,1.025,0.83,1.09), (0.765,1.025,0.83,1.09), (0.765,1.025,0.967,1.09), (0.902,1.025,0.967,1.09), (0.902,1.025,1.105,1.09), (1.04,1.025,1.105,1.09), (1.04,1.025,1.105,1.09), (1.04,1.025,1.105,1.09), (1.04,1.025,1.28,1.09), (2.842,1.04,2.907,1.175), (3.72,1.065,3.905,1.13), (3.84,1.065,3.905,1.13), (3.84,1.065,4.142,1.13), (4.077,1.065,4.142,1.13), (4.077,1.065,4.142,1.13), (4.077,1.065,4.142,1.13), (4.077,1.065,4.297,1.13), (4.232,1.065,4.297,1.13), (4.232,1.065,4.297,1.13), (4.232,1.065,4.297,1.13), (4.232,1.065,4.515,1.13), (4.45,1.065,4.515,1.13), (4.45,1.065,4.515,1.13), (4.45,1.065,4.515,1.13), (4.45,1.065,4.652,1.13), (4.587,1.065,4.652,1.13), (4.587,1.065,4.652,1.13), (4.587,1.065,4.79,1.13), (4.725,1.065,4.79,1.13), (4.725,1.065,4.79,1.13), (4.725,1.065,4.932,1.13), (4.867,1.065,4.932,1.13), (4.867,1.065,5.19,1.13), (5.125,1.065,5.19,1.13), (5.125,1.065,5.19,1.13), (5.84,1.07,5.905,1.205), (5.275,1.075,5.34,1.14), (5.275,1.075,5.34,1.14), (5.275,1.075,5.34,1.35), (5.275,1.075,5.41,1.14), (3.495,1.095,3.63,1.16), (3.495,1.095,3.56,1.35), (6.047,1.097,6.112,1.162), (6.047,1.097,6.112,1.162), (6.047,1.097,6.167,1.162), (6.102,1.097,6.167,1.162), (6.102,1.097,6.4,1.162), (6.335,1.097,6.4,1.162), (6.335,1.097,6.4,1.162), (6.335,1.097,6.4,1.162), (6.335,1.097,6.537,1.162), (6.472,1.097,6.537,1.162), (6.472,1.097,6.537,1.162), (6.472,1.097,6.537,1.162), (6.472,1.097,6.675,1.162), (6.61,1.097,6.675,1.165), (6.61,1.1,6.75,1.165), (6.685,1.1,6.75,1.165), (6.685,1.1,6.887,1.165), (6.822,1.1,6.887,1.165), (6.822,1.1,7.027,1.165), (2.842,1.11,2.907,1.175), (2.842,1.11,2.907,1.175), (2.842,1.11,2.907,1.35), (1.705,1.125,1.84,1.19), (1.712,1.125,1.777,1.35), (7.147,1.13,7.212,1.35), (5.84,1.14,5.905,1.35), (1.355,1.21,1.42,1.275), (1.355,1.21,1.42,1.35), (0,1.285,7.62,1.4), (1.355,1.285,1.42,1.35), (1.712,1.285,1.777,1.35), (1.712,1.285,1.777,1.35), (3.495,1.285,3.56,1.35), (3.495,1.285,3.56,1.35), (5.84,1.285,5.905,1.35), (5.84,1.285,5.905,1.35), (7.147,1.285,7.212,1.35), (7.147,1.285,7.212,1.35)])
R(router_complex1_06w, L18_0, [(0,0,7.62,0.115), (0.045,0.05,0.11,0.29), (1.37,0.05,1.435,0.225), (1.3,0.16,1.435,0.225), (0.045,0.225,0.11,0.5), (6.547,0.342,6.612,0.407), (6.547,0.342,6.612,0.545), (6.547,0.342,6.675,0.407), (6.61,0.342,6.675,0.407), (6.61,0.342,6.75,0.407), (6.685,0.342,6.75,0.407), (6.685,0.342,6.887,0.407), (6.822,0.342,6.887,0.407), (6.822,0.342,6.97,0.407), (6.905,0.342,7.04,0.407), (5.637,0.48,5.702,0.545), (5.637,0.48,5.702,0.67), (5.637,0.48,5.892,0.545), (5.827,0.48,5.892,0.545), (5.827,0.48,5.892,0.545), (5.827,0.48,5.892,0.545), (5.827,0.48,6.03,0.545), (5.965,0.48,6.03,0.545), (5.965,0.48,6.03,0.545), (5.965,0.48,6.03,0.545), (5.965,0.48,6.25,0.545), (6.185,0.48,6.25,0.545), (6.185,0.48,6.25,0.545), (6.185,0.48,6.32,0.545), (6.255,0.48,6.4,0.545), (6.335,0.48,6.4,0.545), (6.335,0.48,6.537,0.545), (6.472,0.48,6.537,0.545), (6.472,0.48,6.612,0.545), (6.547,0.48,6.612,0.545), (5.625,0.605,5.702,0.67), (5.625,0.605,5.69,0.997), (7.025,0.612,7.09,0.677), (7.025,0.612,7.09,0.677), (7.025,0.612,7.3,0.677), (7.025,0.612,7.09,0.68), (7.235,0.612,7.3,0.677), (7.235,0.612,7.437,0.677), (7.372,0.612,7.437,0.677), (7.372,0.612,7.437,0.815), (6.887,0.615,7.09,0.68), (6.887,0.615,6.952,0.682), (5.827,0.617,5.892,0.682), (5.827,0.617,6.03,0.682), (5.827,0.617,5.892,0.782), (5.965,0.617,6.03,0.682), (5.965,0.617,6.03,0.682), (5.965,0.617,6.03,0.682), (5.965,0.617,6.262,0.682), (6.197,0.617,6.262,0.682), (6.197,0.617,6.4,0.682), (6.335,0.617,6.4,0.682), (6.335,0.617,6.4,0.682), (6.335,0.617,6.4,0.682), (6.335,0.617,6.537,0.682), (6.472,0.617,6.537,0.682), (6.472,0.617,6.537,0.682), (6.472,0.617,6.537,0.682), (6.472,0.617,6.537,0.78), (6.472,0.617,6.75,0.682), (6.685,0.617,6.75,0.682), (6.685,0.617,6.75,0.682), (6.685,0.617,6.75,0.682), (6.685,0.617,6.952,0.682), (6.887,0.617,6.952,0.682), (6.887,0.617,6.952,0.682), (2,0.675,2.077,0.812), (1.04,0.677,1.105,0.812), (0.147,0.702,0.212,0.837), (0.81,0.712,0.945,0.777), (0.88,0.712,0.967,0.777), (0.902,0.712,0.967,0.777), (0.902,0.712,0.967,0.95), (1.04,0.712,1.105,0.777), (1.04,0.712,1.105,0.777), (1.04,0.712,1.365,0.777), (1.3,0.712,1.365,0.777), (1.3,0.712,1.365,0.777), (1.3,0.712,1.365,0.777), (1.3,0.712,1.502,0.777), (1.437,0.712,1.502,0.777), (1.437,0.712,1.502,0.777), (1.437,0.712,1.502,0.777), (1.437,0.712,1.642,0.777), (1.577,0.712,1.712,0.777), (1.612,0.712,1.677,0.777), (2.012,0.712,2.077,0.777), (2.165,0.712,2.3,0.777), (2.235,0.712,2.3,0.777), (2.235,0.712,2.3,0.787), (4.882,0.712,4.96,0.85), (6.472,0.715,6.537,0.85), (5.762,0.717,5.827,0.852), (5.762,0.717,5.892,0.782), (5.827,0.717,5.892,0.782), (2.235,0.722,2.465,0.787), (2.4,0.722,2.465,0.787), (2.4,0.722,2.61,0.787), (2.545,0.722,2.61,0.787), (2.545,0.722,2.61,0.787), (2.545,0.722,2.61,0.787), (2.545,0.722,2.747,0.787), (2.682,0.722,2.817,0.787), (2.752,0.722,2.955,0.787), (2.89,0.722,2.955,0.812), (0.147,0.737,0.212,0.802), (2.89,0.747,2.955,0.812), (2.89,0.747,2.955,0.812), (2.89,0.747,3.092,0.812), (3.027,0.747,3.092,0.812), (3.027,0.747,3.092,0.812), (3.027,0.747,3.092,0.812), (3.027,0.747,3.262,0.812), (3.197,0.747,3.335,0.815), (3.232,0.747,3.297,0.812), (4.887,0.747,4.952,0.812), (7.162,0.75,7.3,0.817), (7.372,0.75,7.437,0.815), (7.372,0.75,7.437,0.815), (7.372,0.75,7.507,0.815), (5.762,0.752,5.827,0.817), (7.025,0.752,7.227,0.817), (7.025,0.752,7.09,0.82), (7.197,0.752,7.262,0.817), (6.102,0.755,6.237,0.822), (6.61,0.755,6.745,0.82), (6.68,0.755,6.75,0.82), (6.685,0.755,6.75,0.82), (6.685,0.755,6.887,0.82), (6.822,0.755,6.887,0.82), (6.822,0.755,6.887,0.82), (6.822,0.755,6.887,0.82), (6.822,0.755,7.09,0.82), (7.025,0.755,7.09,0.82), (7.025,0.755,7.09,0.82), (3.415,0.757,3.552,0.822), (3.452,0.757,3.517,0.822), (3.487,0.757,3.552,0.822), (3.487,0.757,3.552,0.822), (3.487,0.757,3.75,0.822), (3.685,0.757,3.75,0.822), (3.685,0.757,3.867,0.822), (3.802,0.757,3.867,0.822), (3.802,0.757,4.005,0.822), (3.94,0.757,4.005,0.822), (3.94,0.757,4.005,0.822), (3.94,0.757,4.075,0.822), (4.01,0.757,4.142,0.822), (4.077,0.757,4.142,0.822), (4.077,0.757,4.297,0.822), (4.232,0.757,4.297,0.822), (4.232,0.757,4.297,0.822), (4.232,0.757,4.297,0.822), (4.232,0.757,4.515,0.822), (4.45,0.757,4.515,0.822), (4.45,0.757,4.515,0.822), (4.45,0.757,4.585,0.825), (6.137,0.757,6.202,0.822), (6.172,0.757,6.4,0.822), (6.335,0.757,6.4,0.822), (6.335,0.757,6.4,0.822), (6.335,0.757,6.4,0.822), (6.335,0.757,6.4,0.987), (0.147,0.772,0.212,0.837), (0.147,0.772,0.212,0.837), (0.147,0.772,0.212,1.09), (1.785,0.777,1.85,0.842), (1.785,0.777,1.85,0.842), (1.785,0.777,1.85,0.915), (1.785,0.777,1.922,0.842), (1.822,0.777,1.887,0.842), (1.3,0.85,1.365,0.915), (1.3,0.85,1.365,0.915), (1.3,0.85,1.502,0.915), (1.3,0.85,1.365,0.927), (1.437,0.85,1.502,0.915), (1.437,0.85,1.502,0.915), (1.437,0.85,1.502,0.915), (1.437,0.85,1.712,0.915), (1.647,0.85,1.712,0.915), (1.647,0.85,1.85,0.915), (1.785,0.85,1.85,0.915), (4.665,0.855,4.742,0.992), (1.162,0.862,1.365,0.927), (1.162,0.862,1.227,0.95), (0.902,0.885,0.967,0.95), (0.902,0.885,1.105,0.95), (1.04,0.885,1.105,0.95), (1.04,0.885,1.227,0.95), (4.667,0.892,4.732,0.957), (6.822,0.892,6.887,1.027), (2.637,0.9,2.702,1.175), (2.637,0.9,2.747,0.965), (2.682,0.9,2.747,0.965), (2.682,0.9,2.955,0.965), (2.89,0.9,2.955,0.965), (2.89,0.9,2.955,0.965), (2.89,0.9,2.955,0.965), (2.89,0.9,3.092,0.965), (3.027,0.9,3.092,1.175), (3.027,0.9,3.092,0.965), (3.027,0.9,3.092,0.965), (5.125,0.9,5.19,1.175), (1.925,0.92,1.99,1.195), (3.027,0.92,3.272,0.985), (3.207,0.92,3.272,0.985), (3.207,0.92,3.41,0.985), (3.345,0.92,3.41,1.195), (3.72,0.92,3.785,1.195), (6.962,0.92,7.027,1.195), (7.147,0.92,7.212,1.195), (6.335,0.922,6.4,0.987), (6.335,0.922,6.537,0.987), (6.472,0.922,6.537,0.987), (6.472,0.922,6.537,0.987), (6.472,0.922,6.537,0.987), (6.472,0.922,6.537,0.987), (6.472,0.922,6.537,0.987), (6.472,0.922,6.75,0.987), (6.685,0.922,6.75,0.987), (6.685,0.922,6.75,0.987), (6.685,0.922,6.75,0.987), (6.685,0.922,6.887,0.987), (5.62,0.932,5.755,1.137), (5.625,0.932,5.69,0.997), (5.625,0.932,5.69,0.997), (5.625,0.932,5.69,0.997), (5.625,0.932,5.69,0.997), (5.625,0.932,5.69,0.997), (5.625,0.932,5.69,0.997), (5.625,0.932,5.892,0.997), (5.827,0.932,5.892,0.997), (5.827,0.932,5.892,0.997), (5.827,0.932,5.892,0.997), (5.827,0.932,6.03,0.997), (5.965,0.932,6.03,1.022), (5.125,0.937,5.327,1.002), (5.262,0.937,5.327,1.002), (5.262,0.937,5.327,1.002), (5.262,0.937,5.327,1.002), (5.262,0.937,5.547,1.002), (5.482,0.937,5.547,1.002), (5.482,0.937,5.547,1.002), (5.482,0.937,5.547,1.002), (5.482,0.937,5.685,1.002), (5.62,0.937,5.685,1.002), (5.62,0.937,5.685,1.002), (3.345,0.957,3.547,1.022), (3.482,0.957,3.547,1.022), (3.482,0.957,3.547,1.022), (3.482,0.957,3.547,1.022), (3.482,0.957,3.75,1.022), (3.685,0.957,3.75,1.022), (3.685,0.957,3.785,1.022), (5.965,0.957,6.06,1.022), (5.995,0.957,6.13,1.162), (1.505,0.987,1.64,1.192), (1.575,0.987,1.64,1.052), (1.575,0.987,1.64,1.052), (1.575,0.987,1.85,1.052), (1.785,0.987,1.85,1.052), (1.785,0.987,1.85,1.052), (1.785,0.987,1.85,1.052), (1.785,0.987,1.99,1.052), (1.925,0.987,1.99,1.052), (1.925,0.987,1.99,1.052), (1.925,0.987,2.162,1.052), (2.097,0.987,2.162,1.052), (2.097,0.987,2.162,1.052), (2.097,0.987,2.162,1.052), (2.097,0.987,2.465,1.052), (2.4,0.987,2.465,1.052), (2.4,0.987,2.465,1.052), (2.4,0.987,2.465,1.052), (2.4,0.987,2.602,1.052), (2.537,0.987,2.602,1.052), (2.537,0.987,2.702,1.052), (1.355,1,1.42,1.275), (1.215,1.022,1.28,1.157), (0.147,1.025,0.212,1.09), (0.147,1.025,0.35,1.09), (0.285,1.025,0.35,1.09), (0.285,1.025,0.35,1.09), (0.285,1.025,0.35,1.09), (0.285,1.025,0.487,1.09), (0.422,1.025,0.487,1.09), (0.422,1.025,0.487,1.09), (0.422,1.025,0.487,1.09), (0.422,1.025,0.83,1.09), (0.765,1.025,0.83,1.09), (0.765,1.025,0.83,1.09), (0.765,1.025,0.83,1.09), (0.765,1.025,0.83,1.09), (0.765,1.025,0.83,1.09), (0.765,1.025,0.967,1.09), (0.902,1.025,0.967,1.09), (0.902,1.025,1.105,1.09), (1.04,1.025,1.105,1.09), (1.04,1.025,1.105,1.09), (1.04,1.025,1.105,1.09), (1.04,1.025,1.28,1.09), (5.622,1.027,5.687,1.092), (2.842,1.04,2.907,1.175), (3.72,1.065,3.905,1.13), (3.84,1.065,3.905,1.13), (3.84,1.065,4.142,1.13), (4.077,1.065,4.142,1.13), (4.077,1.065,4.142,1.13), (4.077,1.065,4.142,1.13), (4.077,1.065,4.297,1.13), (4.232,1.065,4.297,1.13), (4.232,1.065,4.297,1.13), (4.232,1.065,4.297,1.13), (4.232,1.065,4.515,1.13), (4.45,1.065,4.515,1.13), (4.45,1.065,4.515,1.13), (4.45,1.065,4.515,1.13), (4.45,1.065,4.652,1.13), (4.587,1.065,4.652,1.13), (4.587,1.065,4.652,1.13), (4.587,1.065,4.79,1.13), (4.725,1.065,4.79,1.13), (4.725,1.065,4.79,1.13), (4.725,1.065,4.932,1.13), (4.867,1.065,4.932,1.13), (4.867,1.065,5.19,1.13), (5.125,1.065,5.19,1.13), (5.125,1.065,5.19,1.13), (5.84,1.07,5.905,1.205), (5.275,1.075,5.34,1.35), (5.275,1.075,5.34,1.14), (5.275,1.075,5.34,1.14), (5.275,1.075,5.41,1.14), (3.495,1.095,3.63,1.16), (3.495,1.095,3.56,1.35), (6.047,1.097,6.112,1.162), (6.047,1.097,6.112,1.162), (6.047,1.097,6.167,1.162), (6.102,1.097,6.167,1.162), (6.102,1.097,6.4,1.162), (6.335,1.097,6.4,1.162), (6.335,1.097,6.4,1.162), (6.335,1.097,6.4,1.162), (6.335,1.097,6.537,1.162), (6.472,1.097,6.537,1.162), (6.472,1.097,6.537,1.162), (6.472,1.097,6.537,1.162), (6.472,1.097,6.675,1.162), (6.61,1.097,6.675,1.165), (6.61,1.1,6.75,1.165), (6.685,1.1,6.75,1.165), (6.685,1.1,6.887,1.165), (6.822,1.1,6.887,1.165), (6.822,1.1,7.027,1.165), (2.842,1.11,2.907,1.35), (2.842,1.11,2.907,1.175), (2.842,1.11,2.907,1.175), (1.705,1.125,1.84,1.19), (1.712,1.125,1.777,1.35), (7.147,1.13,7.212,1.35), (5.84,1.14,5.905,1.35), (1.355,1.21,1.42,1.275), (1.355,1.21,1.42,1.35), (0,1.285,7.62,1.4), (1.355,1.285,1.42,1.35), (1.712,1.285,1.777,1.35), (1.712,1.285,1.777,1.35), (3.495,1.285,3.56,1.35), (3.495,1.285,3.56,1.35), (5.84,1.285,5.905,1.35), (5.84,1.285,5.905,1.35), (7.147,1.285,7.212,1.35), (7.147,1.285,7.212,1.35)])
R(router_complex1_06w, boundary, [(0,0,7.62,1.4)])
router_complex1_06w.add(gdstk.Label('A', (5.795,0.785), layer=11, texttype=0))
router_complex1_06w.add(gdstk.Label('B', (4.92,0.78), layer=11, texttype=0))
router_complex1_06w.add(gdstk.Label('C', (0.18,0.77), layer=11, texttype=0))
router_complex1_06w.add(gdstk.Label('D', (2.045,0.745), layer=11, texttype=0))
router_complex1_06w.add(gdstk.Label('E', (4.7,0.925), layer=11, texttype=0))
router_complex1_06w.add(gdstk.Label('F', (1.855,0.81), layer=11, texttype=0))
router_complex1_06w.add(gdstk.Label('G', (6.17,0.79), layer=11, texttype=0))
router_complex1_06w.add(gdstk.Label('H', (7.23,0.785), layer=11, texttype=0))
router_complex1_06w.add(gdstk.Label('I', (1.645,0.745), layer=11, texttype=0))
router_complex1_06w.add(gdstk.Label('J', (3.265,0.78), layer=11, texttype=0))
router_complex1_06w.add(gdstk.Label('K', (3.485,0.79), layer=11, texttype=0))
router_complex1_06w.add(gdstk.Label('Y', (5.655,1.06), layer=11, texttype=0))
router_complex1_06w.add(gdstk.Label('VCC', (0,1.4), layer=11, texttype=0))
router_complex1_06w.add(gdstk.Label('GND', (0,0), layer=11, texttype=0))

lib.write_gds('ROUTER_COMPLEX1_06W.gds')
